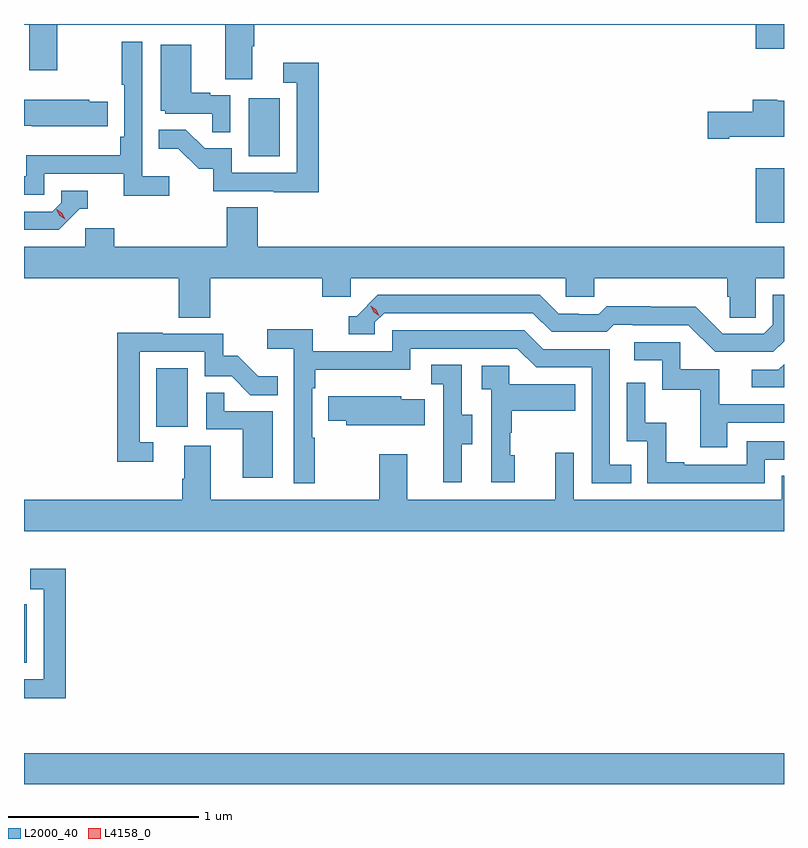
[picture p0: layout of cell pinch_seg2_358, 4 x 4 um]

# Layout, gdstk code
import gdstk
lib = gdstk.Library(unit=1e-6, precision=1e-09)
def R(c, l, rs):  # rectangles x0, y0, x1, y1
    for r in rs: c.add(gdstk.rectangle(r[:2], r[2:], *l))
def P(c, l, *ps):  # polygons
    for p in ps: c.add(gdstk.Polygon(p, *l))
L2000_40 = (2000, 40)
L4158_0 = (4158, 0)

pinch_seg2_358 = lib.new_cell('pinch_seg2_358')
R(pinch_seg2_358, L2000_40, [(969.817,639.645,973.817,639.808), (969.817,640.284,969.832,640.591), (970.514,641.526,970.678,641.833), (973.667,642.6,973.817,642.886), (971,642.948,971.164,643.255)])
P(pinch_seg2_358, L2000_40, [(971.017,643.528),(971.03,643.528),(971.03,643.64),(973.667,643.64),(973.667,643.516),(973.817,643.516),(973.817,643.645),(969.817,643.645),(969.817,643.64),(969.845,643.64),(969.845,643.401),(969.993,643.401),(969.993,643.64),(970.877,643.64),(970.877,643.354),(971.017,643.354)],
  [(970.582,642.844),(970.44,642.844),(970.44,643.552),(970.332,643.552),(970.332,643.324),(970.344,643.324),(970.344,643.051),(970.324,643.051),(970.324,642.955),(969.828,642.955),(969.828,642.843),(969.817,642.843),(969.817,642.747),(969.924,642.747),(969.924,642.858),(970.343,642.858),(970.343,642.742),(970.582,642.742)],
  [(970.902,643.269),(970.796,643.269),(970.796,643.282),(970.696,643.282),(970.696,643.537),(970.538,643.537),(970.538,643.188),(970.56,643.188),(970.56,643.173),(970.807,643.173),(970.807,643.075),(970.902,643.075)],
  [(971.369,643.441),(971.181,643.441),(971.181,643.335),(971.253,643.335),(971.253,642.861),(970.911,642.861),(970.911,642.99),(970.767,642.99),(970.669,643.088),(970.525,643.088),(970.525,642.989),(970.629,642.989),(970.736,642.882),(970.813,642.882),(970.813,642.765),(971.131,642.765),(971.131,642.76),(971.369,642.76)],
  [(970.259,643.236),(970.161,643.236),(970.161,643.246),(969.817,643.246),(969.817,643.109),(969.859,643.109),(969.859,643.106),(970.259,643.106)],
  [(973.528,643.052),(973.817,643.052),(973.817,643.24),(973.782,643.24),(973.782,643.246),(973.652,643.246),(973.652,643.182),(973.416,643.182),(973.416,643.04),(973.528,643.04)],
  [(970.11,642.672),(970.153,642.672),(970.153,642.768),(970.014,642.768),(970.014,642.705),(969.966,642.657),(969.817,642.657),(969.817,642.561),(969.999,642.561)],
  [(970.796,642.308),(971.387,642.308),(971.387,642.21),(971.538,642.21),(971.538,642.308),(972.669,642.308),(972.669,642.21),(972.819,642.21),(972.819,642.308),(973.517,642.308),(973.517,642.21),(973.531,642.21),(973.531,642.1),(973.668,642.1),(973.668,642.308),(973.817,642.308),(973.817,642.472),(971.048,642.472),(971.048,642.68),(970.883,642.68),(970.883,642.472),(970.292,642.472),(970.292,642.57),(970.14,642.57),(970.14,642.472),(969.817,642.472),(969.817,642.308),(970.631,642.308),(970.631,642.1),(970.796,642.1)],
  [(973.817,641.975),(973.817,642.219),(973.758,642.219),(973.758,642.063),(973.71,642.015),(973.494,642.015),(973.352,642.157),(973.116,642.157),(973.116,642.16),(972.883,642.16),(972.841,642.117),(972.738,642.117),(972.738,642.12),(972.631,642.12),(972.532,642.219),(971.679,642.219),(971.568,642.108),(971.525,642.108),(971.525,642.012),(971.664,642.012),(971.664,642.075),(971.712,642.123),(972.495,642.123),(972.594,642.024),(972.883,642.024),(972.922,642.063),(973.021,642.063),(973.021,642.06),(973.314,642.06),(973.455,641.919),(973.761,641.919)],
  [(971.347,641.468),(971.334,641.468),(971.334,641.729),(971.351,641.729),(971.351,641.825),(971.85,641.825),(971.85,641.937),(972.414,641.937),(972.513,641.838),(972.804,641.838),(972.804,641.229),(973.013,641.229),(973.013,641.325),(972.9,641.325),(972.9,641.934),(972.55,641.934),(972.451,642.033),(971.754,642.033),(971.754,641.922),(971.336,641.922),(971.336,642.038),(971.097,642.038),(971.097,641.936),(971.238,641.936),(971.238,641.229),(971.347,641.229)],
  [(970.498,641.445),(970.425,641.445),(970.425,641.919),(970.767,641.919),(970.767,641.79),(970.911,641.79),(971.009,641.692),(971.153,641.692),(971.153,641.791),(971.049,641.791),(970.942,641.898),(970.866,641.898),(970.866,642.015),(970.547,642.015),(970.547,642.02),(970.309,642.02),(970.309,641.34),(970.498,641.34)],
  [(973.519,641.547),(973.817,641.547),(973.817,641.643),(973.477,641.643),(973.477,641.829),(973.272,641.829),(973.272,641.97),(973.029,641.97),(973.029,641.874),(973.176,641.874),(973.176,641.721),(973.375,641.721),(973.375,641.418),(973.519,641.418)],
  [(973.817,641.855),(973.788,641.826),(973.647,641.826),(973.647,641.733),(973.817,641.733)],
  [(972.121,641.434),(972.175,641.434),(972.175,641.589),(972.12,641.589),(972.12,641.852),(971.961,641.852),(971.961,641.749),(972.024,641.749),(972.024,641.445),(972.023,641.445),(972.023,641.232),(972.121,641.232)],
  [(972.4,641.376),(972.375,641.376),(972.375,641.495),(972.385,641.495),(972.385,641.609),(972.719,641.609),(972.719,641.749),(972.372,641.749),(972.372,641.847),(972.225,641.847),(972.225,641.723),(972.276,641.723),(972.276,641.232),(972.4,641.232)],
  [(973.716,641.352),(973.817,641.352),(973.817,641.448),(973.62,641.448),(973.62,641.325),(973.291,641.325),(973.291,641.338),(973.196,641.338),(973.196,641.546),(973.086,641.546),(973.086,641.758),(972.99,641.758),(972.99,641.448),(973.098,641.448),(973.098,641.229),(973.716,641.229)],
  [(971.125,641.607),(970.871,641.607),(970.871,641.705),(970.776,641.705),(970.776,641.511),(970.967,641.511),(970.967,641.256),(971.125,641.256)],
  [(971.927,641.671),(971.802,641.671),(971.802,641.686),(971.53,641.686),(971.53,641.685),(971.419,641.685),(971.419,641.557),(971.513,641.557),(971.513,641.534),(971.927,641.534)],
  [(973.817,641.267),(973.806,641.267),(973.806,641.14),(972.711,641.14),(972.711,641.389),(972.614,641.389),(972.614,641.14),(971.833,641.14),(971.833,641.38),(971.686,641.38),(971.686,641.14),(970.801,641.14),(970.801,641.426),(970.661,641.426),(970.661,641.252),(970.649,641.252),(970.649,641.14),(969.817,641.14),(969.817,640.976),(973.817,640.976)],
  [(970.037,640.777),(969.849,640.777),(969.849,640.671),(969.921,640.671),(969.921,640.197),(969.817,640.197),(969.817,640.096),(970.037,640.096)])
P(pinch_seg2_358, L4158_0, [(971.688,642.109),(971.657,642.129),(971.642,642.161),(971.642,642.162),(971.642,642.162),(971.672,642.142),(971.688,642.109),(971.688,642.109)],
  [(970.035,642.617),(970.004,642.637),(969.988,642.669),(969.988,642.67),(969.989,642.67),(970.019,642.65),(970.035,642.617),(970.035,642.617)])

lib.write_gds('pinch_seg2_358.gds')
